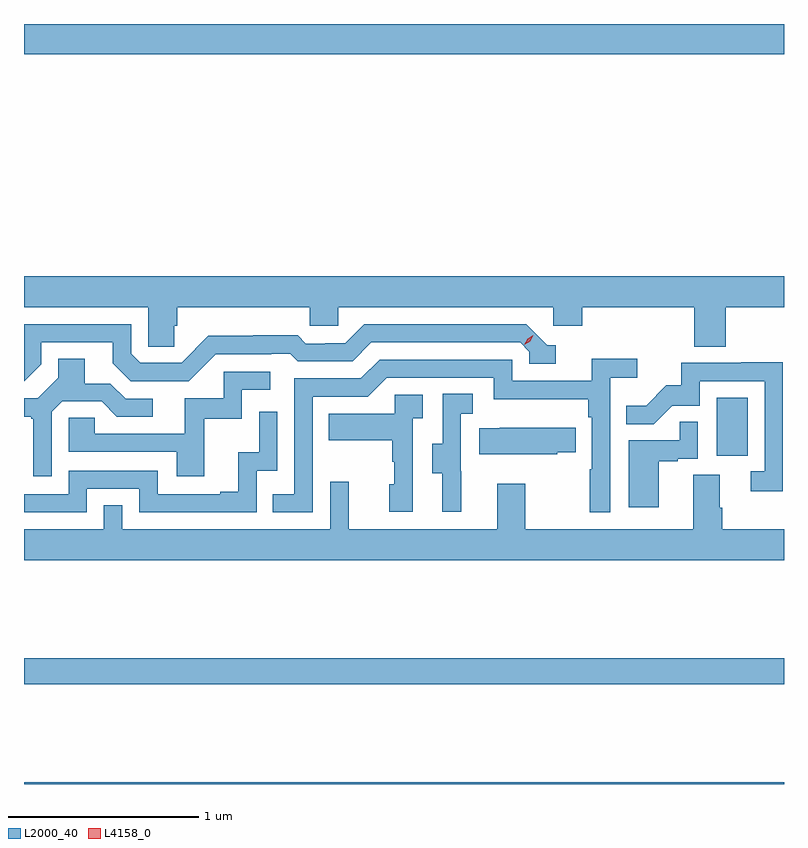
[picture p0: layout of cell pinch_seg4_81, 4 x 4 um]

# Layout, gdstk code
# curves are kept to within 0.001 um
import gdstk
lib = gdstk.Library(unit=1e-6, precision=1e-09)
def R(c, l, rs):  # rectangles x0, y0, x1, y1
    for r in rs: c.add(gdstk.rectangle(r[:2], r[2:], *l))
def P(c, l, *ps):  # polygons
    for p in ps: c.add(gdstk.Polygon(p, *l))
L2000_40 = (2000, 40)
L4158_0 = (4158, 0)

pinch_seg4_81 = lib.new_cell('pinch_seg4_81')
R(pinch_seg4_81, L2000_40, [(1067.921,815.623,1071.921,815.632), (1067.921,816.148,1071.921,816.284), (1071.566,817.35,1071.73,817.657), (1067.921,819.464,1071.921,819.623)])
P(pinch_seg4_81, L2000_40, [(1068.713,818.034),(1068.728,818.034),(1068.728,818.132),(1069.425,818.132),(1069.425,818.034),(1069.575,818.034),(1069.575,818.132),(1070.706,818.132),(1070.706,818.034),(1070.858,818.034),(1070.858,818.132),(1071.449,818.132),(1071.449,817.924),(1071.614,817.924),(1071.614,818.132),(1071.921,818.132),(1071.921,818.296),(1067.921,818.296),(1067.921,818.132),(1068.576,818.132),(1068.576,817.924),(1068.713,817.924)],
  [(1068.012,817.833),(1068.012,817.947),(1068.389,817.947),(1068.389,817.837),(1068.483,817.743),(1068.789,817.743),(1068.93,817.884),(1069.223,817.884),(1069.223,817.887),(1069.322,817.887),(1069.361,817.848),(1069.65,817.848),(1069.749,817.947),(1070.532,817.947),(1070.58,817.899),(1070.58,817.836),(1070.719,817.836),(1070.719,817.932),(1070.676,817.932),(1070.565,818.043),(1069.712,818.043),(1069.613,817.944),(1069.506,817.944),(1069.506,817.941),(1069.403,817.941),(1069.361,817.984),(1069.128,817.984),(1069.128,817.981),(1068.892,817.981),(1068.75,817.839),(1068.534,817.839),(1068.486,817.887),(1068.486,818.043),(1067.921,818.043),(1067.921,817.743)],
  [(1068.066,817.581),(1068.123,817.638),(1068.329,817.638),(1068.41,817.557),(1068.598,817.557),(1068.598,817.65),(1068.456,817.65),(1068.376,817.73),(1068.241,817.73),(1068.241,817.862),(1068.101,817.862),(1068.101,817.76),(1067.994,817.653),(1067.921,817.653),(1067.921,817.556),(1067.958,817.556),(1067.958,817.545),(1067.969,817.545),(1067.969,817.242),(1068.066,817.242)],
  [(1069.44,817.662),(1069.731,817.662),(1069.83,817.761),(1070.394,817.761),(1070.394,817.649),(1070.89,817.649),(1070.89,817.553),(1070.91,817.553),(1070.91,817.28),(1070.898,817.28),(1070.898,817.053),(1071.006,817.053),(1071.006,817.76),(1071.148,817.76),(1071.148,817.862),(1070.909,817.862),(1070.909,817.746),(1070.49,817.746),(1070.49,817.857),(1069.793,817.857),(1069.694,817.758),(1069.344,817.758),(1069.344,817.149),(1069.231,817.149),(1069.231,817.053),(1069.44,817.053)],
  [(1071.915,817.844),(1071.697,817.844),(1071.697,817.839),(1071.379,817.839),(1071.379,817.722),(1071.302,817.722),(1071.195,817.615),(1071.091,817.615),(1071.091,817.516),(1071.235,817.516),(1071.333,817.614),(1071.477,817.614),(1071.477,817.743),(1071.819,817.743),(1071.819,817.269),(1071.747,817.269),(1071.747,817.164),(1071.915,817.164)],
  [(1068.869,817.545),(1069.068,817.545),(1069.068,817.698),(1069.216,817.698),(1069.216,817.794),(1068.972,817.794),(1068.972,817.653),(1068.767,817.653),(1068.767,817.467),(1068.293,817.467),(1068.293,817.551),(1068.156,817.551),(1068.156,817.371),(1068.725,817.371),(1068.725,817.242),(1068.869,817.242)],
  [(1070.222,817.269),(1070.22,817.269),(1070.22,817.573),(1070.284,817.573),(1070.284,817.676),(1070.124,817.676),(1070.124,817.413),(1070.069,817.413),(1070.069,817.258),(1070.123,817.258),(1070.123,817.056),(1070.222,817.056)],
  [(1069.968,817.547),(1070.02,817.547),(1070.02,817.671),(1069.872,817.671),(1069.872,817.573),(1069.525,817.573),(1069.525,817.433),(1069.86,817.433),(1069.86,817.319),(1069.87,817.319),(1069.87,817.2),(1069.844,817.2),(1069.844,817.056),(1069.968,817.056)],
  [(1068.252,817.176),(1068.528,817.176),(1068.528,817.053),(1069.146,817.053),(1069.146,817.272),(1069.254,817.272),(1069.254,817.582),(1069.158,817.582),(1069.158,817.37),(1069.049,817.37),(1069.049,817.162),(1068.953,817.162),(1068.953,817.149),(1068.624,817.149),(1068.624,817.272),(1068.156,817.272),(1068.156,817.149),(1067.921,817.149),(1067.921,817.053),(1068.252,817.053)],
  [(1071.262,817.323),(1071.362,817.323),(1071.362,817.335),(1071.468,817.335),(1071.468,817.529),(1071.373,817.529),(1071.373,817.431),(1071.104,817.431),(1071.104,817.08),(1071.262,817.08)],
  [(1070.727,817.369),(1070.825,817.369),(1070.825,817.498),(1070.425,817.498),(1070.425,817.495),(1070.317,817.495),(1070.317,817.358),(1070.727,817.358)],
  [(1071.921,816.964),(1071.596,816.964),(1071.596,817.076),(1071.583,817.076),(1071.583,817.25),(1071.443,817.25),(1071.443,816.964),(1070.559,816.964),(1070.559,817.204),(1070.411,817.204),(1070.411,816.964),(1069.631,816.964),(1069.631,817.213),(1069.533,817.213),(1069.533,816.964),(1068.438,816.964),(1068.438,817.091),(1068.342,817.091),(1068.342,816.964),(1067.921,816.964),(1067.921,816.8),(1071.921,816.8)])
P(pinch_seg4_81, L4158_0, [(1070.555,817.934),(1070.555,817.934),(1070.571,817.967),(1070.602,817.986),(1070.602,817.986),(1070.602,817.986),(1070.586,817.953),(1070.555,817.934)])

lib.write_gds('pinch_seg4_81.gds')
